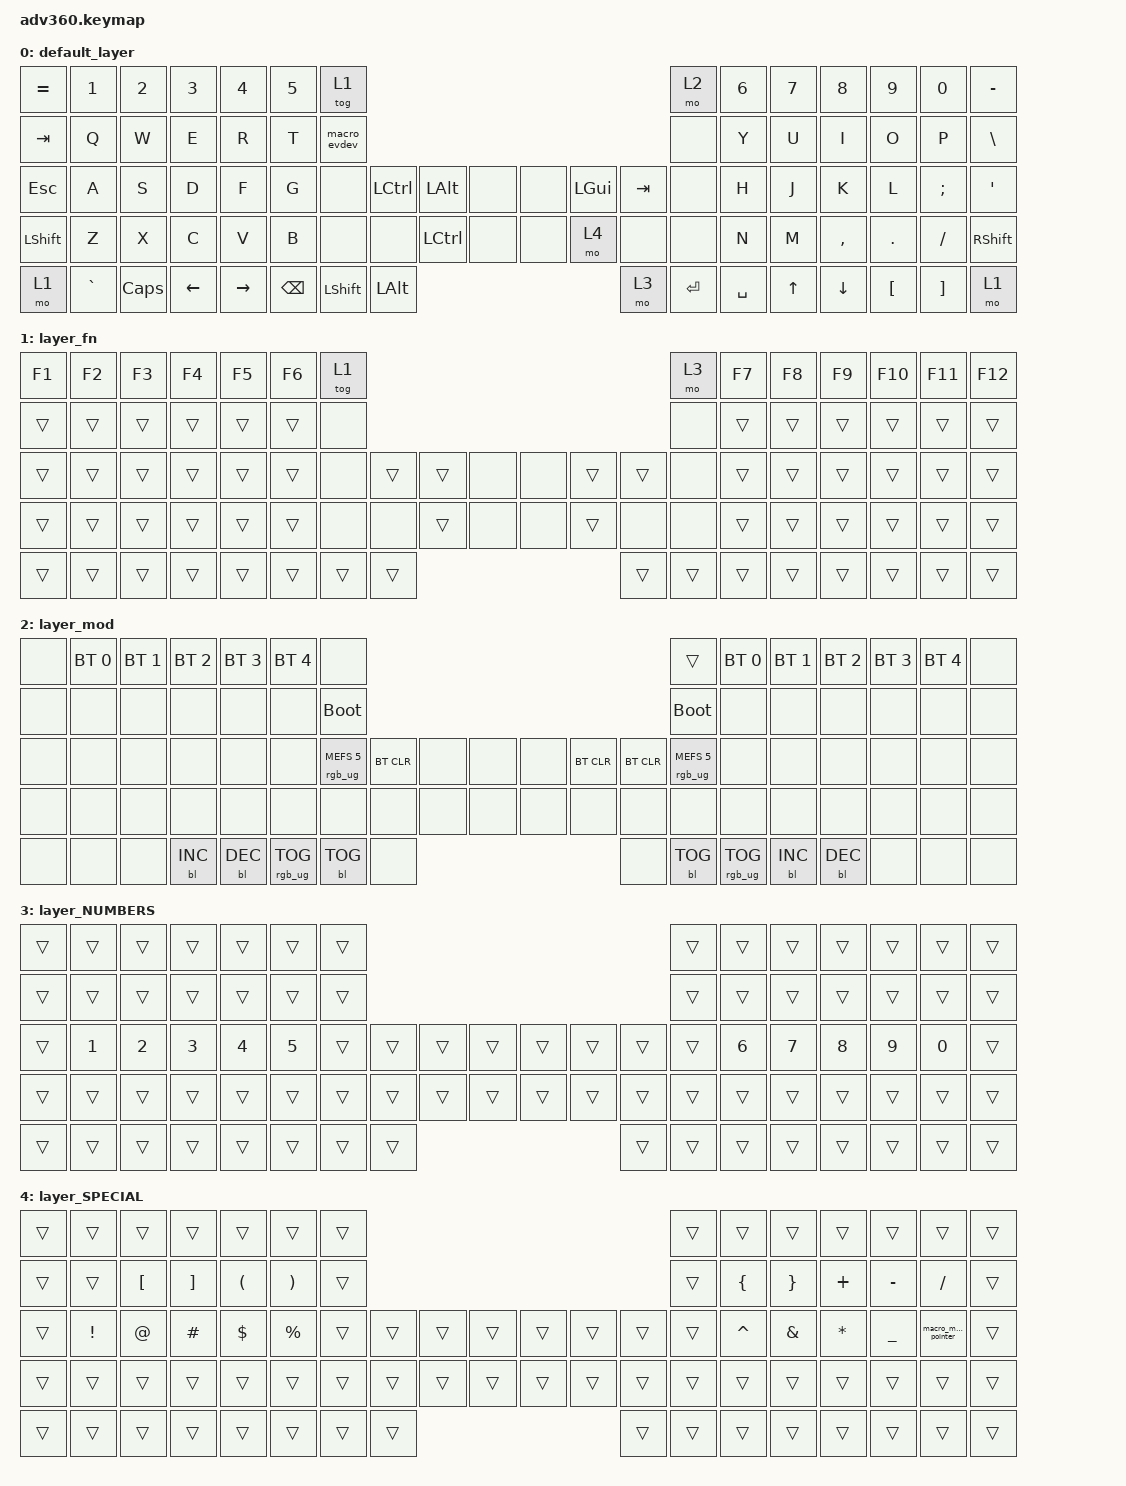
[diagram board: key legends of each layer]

/*
 * Copyright (c) 2020 The ZMK Contributors
 *
 * SPDX-License-Identifier: MIT
 */


/* THIS FILE WAS GENERATED!
 *
 * This file was generated automatically. You may or may not want to
 * edit it directly.
 */

#include <behaviors.dtsi>
#include <dt-bindings/zmk/keys.h>
#include <dt-bindings/zmk/bt.h>
#include <dt-bindings/zmk/rgb.h>
#include <dt-bindings/zmk/backlight.h>

/ {
  behaviors {
    #include "macros.dtsi"

    hm: homerow_mods {
        compatible = "zmk,behavior-hold-tap";
        label = "HOMEROW_MODS";
        #binding-cells = <2>;
        tapping-term-ms = <200>;
        quick_tap_ms = <175>;
        flavor = "tap-preferred";
        bindings = <&kp>, <&kp>;
    };
  };

    keymap {
        compatible = "zmk,keymap";


        default_layer {
            bindings = <
 &kp EQUAL     &kp N1    &kp N2    &kp N3     &kp N4  &kp N5                   &tog 1                                                                             &mo 2  &kp N6  &kp N7     &kp N8    &kp N9    &kp N0  &kp MINUS
   &kp TAB      &kp Q     &kp W     &kp E      &kp R   &kp T             &macro_evdev                                                                             &none   &kp Y   &kp U      &kp I     &kp O     &kp P   &kp BSLH
   &kp ESC      &kp A     &kp S     &kp D      &kp F   &kp G                    &none       &kp LCTRL          &kp LALT   &none   &none  &kp LGUI    &kp TAB      &none   &kp H   &kp J      &kp K     &kp L  &kp SEMI    &kp SQT
 &kp LSHFT      &kp Z     &kp X     &kp C      &kp V   &kp B                    &none           &none  &kp LEFT_CONTROL   &none   &none     &mo 4      &none      &none   &kp N   &kp M  &kp COMMA   &kp DOT  &kp FSLH  &kp RSHFT
     &mo 1  &kp GRAVE  &kp CAPS  &kp LEFT  &kp RIGHT                    &kp BACKSPACE  &kp LEFT_SHIFT      &kp LEFT_ALT                     &mo 3  &kp ENTER  &kp SPACE          &kp UP   &kp DOWN  &kp LBKT  &kp RBKT      &mo 1
            >;
        };

        layer_fn {
            bindings = <
 &kp F1  &kp F2  &kp F3  &kp F4  &kp F5  &kp F6            &tog 1                                                   &mo 3  &kp F7  &kp F8  &kp F9  &kp F10  &kp F11  &kp F12
 &trans  &trans  &trans  &trans  &trans  &trans             &none                                                   &none  &trans  &trans  &trans   &trans   &trans   &trans
 &trans  &trans  &trans  &trans  &trans  &trans             &none  &trans  &trans   &none   &none  &trans  &trans   &none  &trans  &trans  &trans   &trans   &trans   &trans
 &trans  &trans  &trans  &trans  &trans  &trans             &none   &none  &trans   &none   &none  &trans   &none   &none  &trans  &trans  &trans   &trans   &trans   &trans
 &trans  &trans  &trans  &trans  &trans                    &trans  &trans  &trans                  &trans  &trans  &trans          &trans  &trans   &trans   &trans   &trans
            >;
        };

        layer_mod {
            bindings = <
  &none  &bt BT_SEL 0  &bt BT_SEL 1  &bt BT_SEL 2  &bt BT_SEL 3  &bt BT_SEL 4                             &none                                                                              &trans  &bt BT_SEL 0  &bt BT_SEL 1  &bt BT_SEL 2  &bt BT_SEL 3  &bt BT_SEL 4   &none
  &none         &none         &none         &none         &none         &none                       &bootloader                                                                         &bootloader         &none         &none         &none         &none         &none   &none
  &none         &none         &none         &none         &none         &none            &rgb_ug RGB_MEFS_CMD 5  &bt BT_CLR   &none   &none   &none  &bt BT_CLR  &bt BT_CLR  &rgb_ug RGB_MEFS_CMD 5         &none         &none         &none         &none         &none   &none
  &none         &none         &none         &none         &none         &none                             &none       &none   &none   &none   &none       &none       &none                   &none         &none         &none         &none         &none         &none   &none
  &none         &none         &none    &bl BL_INC    &bl BL_DEC                                 &rgb_ug RGB_TOG  &bl BL_TOG   &none                       &none  &bl BL_TOG         &rgb_ug RGB_TOG                  &bl BL_INC    &bl BL_DEC         &none         &none   &none
            >;
        };

        layer_NUMBERS {
            bindings = <
 &trans        &trans        &trans        &trans        &trans        &trans            &trans                                                  &trans        &trans        &trans        &trans        &trans        &trans  &trans
 &trans        &trans        &trans        &trans        &trans        &trans            &trans                                                  &trans        &trans        &trans        &trans        &trans        &trans  &trans
 &trans  &kp NUMBER_1  &kp NUMBER_2  &kp NUMBER_3  &kp NUMBER_4  &kp NUMBER_5            &trans  &trans  &trans  &trans  &trans  &trans  &trans  &trans  &kp NUMBER_6  &kp NUMBER_7  &kp NUMBER_8  &kp NUMBER_9  &kp NUMBER_0  &trans
 &trans        &trans        &trans        &trans        &trans        &trans            &trans  &trans  &trans  &trans  &trans  &trans  &trans  &trans        &trans        &trans        &trans        &trans        &trans  &trans
 &trans        &trans        &trans        &trans        &trans                          &trans  &trans  &trans                  &trans  &trans  &trans                      &trans        &trans        &trans        &trans  &trans
            >;
        };

        layer_SPECIAL {
            bindings = <
 &trans           &trans            &trans             &trans                &trans                 &trans            &trans                                                  &trans          &trans           &trans    &trans          &trans                &trans  &trans
 &trans           &trans  &kp LEFT_BRACKET  &kp RIGHT_BRACKET  &kp LEFT_PARENTHESIS  &kp RIGHT_PARENTHESIS            &trans                                                  &trans  &kp LEFT_BRACE  &kp RIGHT_BRACE  &kp PLUS       &kp MINUS             &kp SLASH  &trans
 &trans  &kp EXCLAMATION       &kp AT_SIGN          &kp POUND            &kp DOLLAR            &kp PERCENT            &trans  &trans  &trans  &trans  &trans  &trans  &trans  &trans       &kp CARET    &kp AMPERSAND  &kp STAR  &kp UNDERSCORE  &macro_macro_pointer  &trans
 &trans           &trans            &trans             &trans                &trans                 &trans            &trans  &trans  &trans  &trans  &trans  &trans  &trans  &trans          &trans           &trans    &trans          &trans                &trans  &trans
 &trans           &trans            &trans             &trans                &trans                                   &trans  &trans  &trans                  &trans  &trans  &trans                           &trans    &trans          &trans                &trans  &trans
            >;
        };

    };
};
